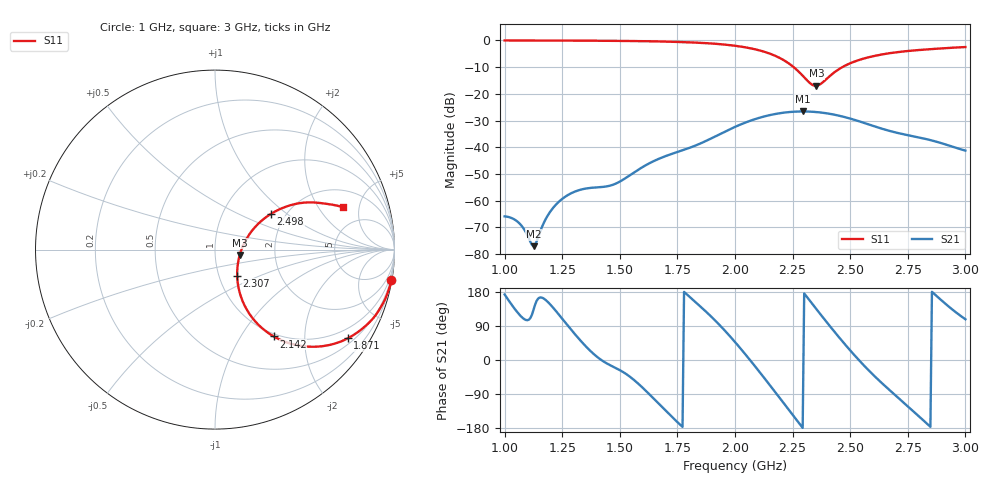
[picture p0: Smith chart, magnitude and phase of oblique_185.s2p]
! TOUCHSTONE file generated by CST MICROWAVE STUDIO
! Date and time: Tue Mar 18 00:02:54 2025
! Project name: oblique.cst
! Parameters = {Tilt=40; Fracture=1; B=12.5; D=160; F=15; Feed=2.85625; L=100; M=30; R=0.384908; S=1; Theta=180; length=57.125; wave=114.25}
! Header version: 2024
! Port assignment regex: !\s*Touchstone port\s*([0-9]+)\s*=\s*(CST MWS port|CST DES external port|CST DES block port)\s*(.+)\s* \(\"(.*)\"\)(\s*mode\s*([0-9]+))?.*
! Touchstone port assignment:
! Touchstone port 1 = CST MWS port 1 ("")
! Touchstone port 2 = CST MWS port 2 ("")
# GHz S DB R 50
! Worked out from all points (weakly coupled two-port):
!   304 points, 1 GHz to 3 GHz, reference 50 ohm
!   highest |S21| = -26.61 dB at 2.294 GHz (marker M1); lowest = -77.1 dB at 1.125 GHz (marker M2)
!   lowest |S11| = -17.0 dB at 2.353 GHz (marker M3), VSWR 1.33, Z = 65.9 - j3.95 ohm
!   |S11| at or under -10 dB: 2.254 GHz to 2.466 GHz (211.7 MHz wide, 8.97 % of centre)
!   S12 and S22 are empty: the file has one direction only
!   S11 on the Smith chart (normalised r, x): 1 GHz: 0, -12; 1.871 GHz: 0.67, -3.17; 2.142 GHz: 0.96, -1.41; 2.307 GHz: 1.22, -0.37; 2.498 GHz: 1.68, +0.78; 3 GHz: 3.16, +3.42
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1  -0.02 -9.8  -65.88 173.0  -200.00 0.0  -200.00 0.0
1.033  -0.03 -10.2  -66.62 143.8  -200.00 0.0  -200.00 0.0
1.06601  -0.03 -10.7  -68.67 118.5  -200.00 0.0  -200.00 0.0
1.12541  -0.04 -11.6  -77.05 132.1  -200.00 0.0  -200.00 0.0
1.13861  -0.04 -11.8  -75.36 155.7  -200.00 0.0  -200.00 0.0
1.17822  -0.05 -12.4  -66.93 158.4  -200.00 0.0  -200.00 0.0
1.21122  -0.06 -12.9  -62.62 137.6  -200.00 0.0  -200.00 0.0
1.27063  -0.07 -14.0  -58.11 93.6  -200.00 0.0  -200.00 0.0
1.33663  -0.09 -15.2  -55.75 46.3  -200.00 0.0  -200.00 0.0
1.47525  -0.17 -18.3  -53.89 -19.0  -200.00 0.0  -200.00 0.0
1.66667  -0.38 -24.2  -44.44 -114.0  -200.00 0.0  -200.00 0.0
1.87129  -1.01 -33.8  -37.76 129.2  -200.00 0.0  -200.00 0.0
2.0033  -2.05 -43.2  -32.26 45.1  -200.00 0.0  -200.00 0.0
2.14191  -4.67 -55.9  -28.15 -59.1  -200.00 0.0  -200.00 0.0
2.22112  -7.91 -61.9  -26.96 -121.5  -200.00 0.0  -200.00 0.0
2.29373  -13.21 -54.8  -26.61 -179.1  -200.00 0.0  -200.00 0.0
2.30693  -14.42 -49.4  -26.62 170.5  -200.00 0.0  -200.00 0.0
2.33993  -16.83 -25.0  -26.74 144.7  -200.00 0.0  -200.00 0.0
2.35314  -17.01 -12.0  -26.83 134.4  -200.00 0.0  -200.00 0.0
2.49835  -8.62 32.6  -29.23 26.5  -200.00 0.0  -200.00 0.0
2.66997  -4.81 27.2  -33.87 -78.9  -200.00 0.0  -200.00 0.0
3  -2.49 18.3  -41.26 107.5  -200.00 0.0  -200.00 0.0
